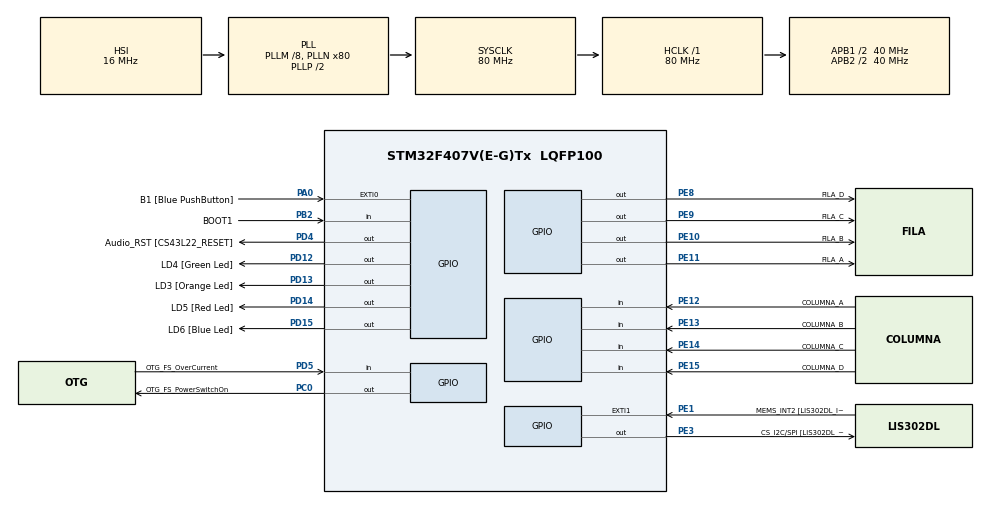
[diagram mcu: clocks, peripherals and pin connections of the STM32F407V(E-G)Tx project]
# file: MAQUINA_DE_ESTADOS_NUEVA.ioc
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<<<<<<< HEAD
Dma.Request0=TIM4_CH1
Dma.TIM4_CH1.0.Direction=DMA_MEMORY_TO_PERIPH
Dma.TIM4_CH1.0.FIFOMode=DMA_FIFOMODE_DISABLE
Dma.TIM4_CH1.0.Instance=DMA1_Stream0
Dma.TIM4_CH1.0.MemDataAlignment=DMA_MDATAALIGN_WORD
Dma.TIM4_CH1.0.MemInc=DMA_MINC_ENABLE
Dma.TIM4_CH1.0.Mode=DMA_NORMAL
Dma.TIM4_CH1.0.PeriphDataAlignment=DMA_PDATAALIGN_WORD
Dma.TIM4_CH1.0.PeriphInc=DMA_PINC_DISABLE
Dma.TIM4_CH1.0.Priority=DMA_PRIORITY_LOW
=======
>>>>>>> origin/main
Mcu.Family=STM32F4
<<<<<<< HEAD
=======
>>>>>>> origin/main
Mcu.Name=STM32F407V(E-G)Tx
Mcu.Package=LQFP100
<<<<<<< HEAD
=======
>>>>>>> origin/main
<<<<<<< HEAD
=======
>>>>>>> origin/main
<<<<<<< HEAD
NVIC.DMA1_Stream0_IRQn=true\:0\:0\:false\:false\:true\:false\:true\:true
=======
>>>>>>> origin/main
NVIC.PriorityGroup=NVIC_PRIORITYGROUP_0
NVIC.TIM8_TRG_COM_TIM14_IRQn=true\:0\:0\:false\:false\:true\:true\:true\:true
PA0-WKUP.GPIO_Label=B1 [Blue PushButton]
PA0-WKUP.Signal=GPXTI0
PA10.GPIO_Label=OTG_FS_ID
PA10.GPIO_Mode=GPIO_MODE_AF_PP
PA10.GPIO_PuPd=GPIO_NOPULL
PA10.GPIO_Speed=GPIO_SPEED_FREQ_LOW
PA10.Signal=USB_OTG_FS_ID
PA11.GPIO_Label=OTG_FS_DM
PA11.GPIO_Mode=GPIO_MODE_AF_PP
PA11.GPIO_PuPd=GPIO_NOPULL
PA11.GPIO_Speed=GPIO_SPEED_FREQ_LOW
PA11.Signal=USB_OTG_FS_DM
PA12.GPIO_Label=OTG_FS_DP
PA12.GPIO_Mode=GPIO_MODE_AF_PP
PA12.GPIO_PuPd=GPIO_NOPULL
PA12.GPIO_Speed=GPIO_SPEED_FREQ_LOW
PA12.Signal=USB_OTG_FS_DP
PA13.GPIO_Label=SWDIO
PA13.Signal=SYS_JTMS-SWDIO
PA14.GPIO_Label=SWCLK
PA14.Signal=SYS_JTCK-SWCLK
PA4.GPIO_Label=I2S3_WS [CS43L22_LRCK]
PA4.GPIO_Mode=GPIO_MODE_AF_PP
PA4.GPIO_PuPd=GPIO_NOPULL
PA4.GPIO_Speed=GPIO_SPEED_FREQ_LOW
PA4.Signal=I2S3_WS
PA5.GPIO_Label=SPI1_SCK [LIS302DL_SCL/SPC]
PA5.GPIO_Mode=GPIO_MODE_AF_PP
PA5.GPIO_PuPd=GPIO_NOPULL
PA5.GPIO_Speed=GPIO_SPEED_FREQ_LOW
PA5.Signal=SPI1_SCK
<<<<<<< HEAD
PA6.Signal=S_TIM3_CH1
=======
PA6.GPIO_Label=SPI1_MISO [LIS302DL_SDO]
PA6.GPIO_Mode=GPIO_MODE_AF_PP
PA6.GPIO_PuPd=GPIO_NOPULL
PA6.GPIO_Speed=GPIO_SPEED_FREQ_LOW
PA6.Signal=SPI1_MISO
>>>>>>> origin/main
PA7.GPIO_Label=SPI1_MOSI [LIS302DL_SDA/SDI/SDO]
PA7.GPIO_Mode=GPIO_MODE_AF_PP
PA7.GPIO_PuPd=GPIO_NOPULL
PA7.GPIO_Speed=GPIO_SPEED_FREQ_LOW
PA7.Signal=SPI1_MOSI
PA9.GPIO_Label=VBUS_FS
PA9.GPIO_Mode=GPIO_MODE_INPUT
PA9.GPIO_PuPd=GPIO_NOPULL
PA9.Signal=USB_OTG_FS_VBUS
PB10.GPIO_Label=CLK_IN [MP45DT02_CLK]
PB10.GPIO_Mode=GPIO_MODE_AF_PP
PB10.GPIO_PuPd=GPIO_NOPULL
PB10.GPIO_Speed=GPIO_SPEED_FREQ_LOW
PB10.Signal=I2S2_CK
PB2.GPIO_Label=BOOT1
PB2.GPIO_Mode=GPIO_MODE_INPUT
PB2.GPIO_PuPd=GPIO_NOPULL
PB2.Signal=GPIO_Input
PB3.GPIO_Label=SWO
PB3.Signal=SYS_JTDO-SWO
PB6.GPIO_Label=Audio_SCL [CS43L22_SCL]
PB6.GPIO_Mode=GPIO_MODE_AF_OD
PB6.GPIO_PuPd=GPIO_NOPULL
PB6.GPIO_Speed=GPIO_SPEED_FREQ_LOW
PB6.Signal=I2C1_SCL
PB9.GPIO_Label=Audio_SDA [CS43L22_SDA]
PB9.GPIO_Mode=GPIO_MODE_AF_OD
PB9.GPIO_PuPd=GPIO_NOPULL
PB9.GPIO_Speed=GPIO_SPEED_FREQ_LOW
PB9.Signal=I2C1_SDA
PC0.GPIO_Label=OTG_FS_PowerSwitchOn
PC0.GPIO_PuPd=GPIO_NOPULL
PC0.GPIO_Speed=GPIO_SPEED_FREQ_LOW
PC0.PinState=GPIO_PIN_SET
PC0.Signal=GPIO_Output
PC10.GPIO_Label=I2S3_SCK [CS43L22_SCLK]
PC10.GPIO_Mode=GPIO_MODE_AF_PP
PC10.GPIO_PuPd=GPIO_NOPULL
PC10.GPIO_Speed=GPIO_SPEED_FREQ_LOW
PC10.Signal=I2S3_CK
PC12.GPIO_Label=I2S3_SD [CS43L22_SDIN]
PC12.GPIO_Mode=GPIO_MODE_AF_PP
PC12.GPIO_PuPd=GPIO_NOPULL
PC12.GPIO_Speed=GPIO_SPEED_FREQ_LOW
PC12.Signal=I2S3_SD
PC14-OSC32_IN.GPIO_Label=PC14-OSC32_IN
PC14-OSC32_IN.Signal=RCC_OSC32_IN
PC15-OSC32_OUT.GPIO_Label=PC15-OSC32_OUT
PC15-OSC32_OUT.Signal=RCC_OSC32_OUT
PC3.GPIO_Label=PDM_OUT [MP45DT02_DOUT]
PC3.GPIO_Mode=GPIO_MODE_AF_PP
PC3.GPIO_PuPd=GPIO_NOPULL
PC3.GPIO_Speed=GPIO_SPEED_FREQ_LOW
PC3.Signal=I2S2_SD
PC7.GPIO_Label=I2S3_MCK [CS43L22_MCLK]
PC7.GPIO_Mode=GPIO_MODE_AF_PP
PC7.GPIO_PuPd=GPIO_NOPULL
PC7.GPIO_Speed=GPIO_SPEED_FREQ_LOW
PC7.Signal=I2S3_MCK
<<<<<<< HEAD
PD12.Signal=S_TIM4_CH1
=======
PD12.GPIO_Label=LD4 [Green Led]
PD12.GPIO_PuPd=GPIO_NOPULL
PD12.GPIO_Speed=GPIO_SPEED_FREQ_LOW
PD12.Signal=GPIO_Output
>>>>>>> origin/main
PD13.GPIO_Label=LD3 [Orange Led]
PD13.GPIO_PuPd=GPIO_NOPULL
PD13.GPIO_Speed=GPIO_SPEED_FREQ_LOW
PD13.Signal=GPIO_Output
PD14.GPIO_Label=LD5 [Red Led]
PD14.GPIO_PuPd=GPIO_NOPULL
PD14.GPIO_Speed=GPIO_SPEED_FREQ_LOW
PD14.Signal=GPIO_Output
PD15.GPIO_Label=LD6 [Blue Led]
PD15.GPIO_PuPd=GPIO_NOPULL
PD15.GPIO_Speed=GPIO_SPEED_FREQ_LOW
PD15.Signal=GPIO_Output
PD4.GPIO_Label=Audio_RST [CS43L22_RESET]
PD4.GPIO_PuPd=GPIO_NOPULL
PD4.GPIO_Speed=GPIO_SPEED_FREQ_LOW
PD4.Signal=GPIO_Output
PD5.GPIO_Label=OTG_FS_OverCurrent
PD5.GPIO_Mode=GPIO_MODE_INPUT
PD5.GPIO_PuPd=GPIO_NOPULL
PD5.Signal=GPIO_Input
PE1.GPIO_Label=MEMS_INT2 [LIS302DL_INT2]
PE1.GPIO_ModeDefaultEXTI=GPIO_MODE_EVT_RISING
PE1.GPIO_PuPd=GPIO_NOPULL
PE1.Signal=GPXTI1
PE10.GPIO_Label=FILA_B
PE10.Signal=GPIO_Output
PE11.GPIO_Label=FILA_A
PE11.Signal=GPIO_Output
PE12.GPIO_Label=COLUMNA_A
PE12.Signal=GPIO_Input
PE13.GPIO_Label=COLUMNA_B
PE13.Signal=GPIO_Input
PE14.GPIO_Label=COLUMNA_C
PE14.Signal=GPIO_Input
PE15.GPIO_Label=COLUMNA_D
PE15.Signal=GPIO_Input
PE3.GPIO_Label=CS_I2C/SPI [LIS302DL_CS_I2C/SPI]
PE3.GPIO_PuPd=GPIO_NOPULL
PE3.GPIO_Speed=GPIO_SPEED_FREQ_LOW
PE3.Signal=GPIO_Output
PE8.GPIO_Label=FILA_D
PE8.Signal=GPIO_Output
PE9.GPIO_Label=FILA_C
PE9.Signal=GPIO_Output
PH0-OSC_IN.GPIO_Label=PH0-OSC_IN
PH0-OSC_IN.Signal=RCC_OSC_IN
PH1-OSC_OUT.GPIO_Label=PH1-OSC_OUT
PH1-OSC_OUT.Signal=RCC_OSC_OUT
ProjectManager.HeapSize=0x200
ProjectManager.StackSize=0x400
ProjectManager.TargetToolchain=STM32CubeIDE
<<<<<<< HEAD
=======
>>>>>>> origin/main
RCC.48MHZClocksFreq_Value=22857142.85714286
RCC.AHBFreq_Value=80000000
RCC.APB1CLKDivider=RCC_HCLK_DIV2
RCC.APB1Freq_Value=40000000
RCC.APB1TimFreq_Value=80000000
RCC.APB2CLKDivider=RCC_HCLK_DIV2
RCC.APB2Freq_Value=40000000
RCC.APB2TimFreq_Value=80000000
RCC.CortexFreq_Value=80000000
RCC.HCLKFreq_Value=80000000
RCC.HSE_VALUE=8000000
RCC.HSI_VALUE=16000000
RCC.LSE_VALUE=32768
RCC.PLLM=8
RCC.PLLN=80
RCC.PLLQ=7
RCC.SYSCLKFreq_VALUE=80000000
RCC.SYSCLKSource=RCC_SYSCLKSOURCE_PLLCLK
RCC.VCOOutputFreq_Value=160000000
<<<<<<< HEAD
SH.S_TIM3_CH1.0=TIM3_CH1,PWM Generation1 CH1
SH.S_TIM4_CH1.0=TIM4_CH1,PWM Generation1 CH1
TIM14.Period=7
TIM14.Prescaler=9999
TIM3.Channel-PWM\ Generation1\ CH1=TIM_CHANNEL_1
TIM3.Period=3
TIM3.Prescaler=9999
TIM4.AutoReloadPreload=TIM_AUTORELOAD_PRELOAD_ENABLE
TIM4.Channel-PWM\ Generation1\ CH1=TIM_CHANNEL_1
TIM4.Period=49
TIM4.Prescaler=1
=======
TIM14.Period=7
TIM14.Prescaler=9999
>>>>>>> origin/main
VP_TIM14_VS_ClockSourceINT.Mode=Enable_Timer
<<<<<<< HEAD
VP_TIM3_VS_ClockSourceINT.Mode=Internal
VP_TIM4_VS_ClockSourceINT.Mode=Internal
=======
>>>>>>> origin/main
board=STM32F407G-DISC1

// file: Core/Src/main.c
/* USER CODE BEGIN Header */
/**
  ******************************************************************************
  * @file           : main.c
  * @brief          : Main program body
  ******************************************************************************
  * @attention
  *
  * Copyright (c) 2026 STMicroelectronics.
  * All rights reserved.
  *
  * This software is licensed under terms that can be found in the LICENSE file
  * in the root directory of this software component.
  * If no LICENSE file comes with this software, it is provided AS-IS.
  *
  ******************************************************************************
  */
/* USER CODE END Header */
#include "main.h"

/* USER CODE BEGIN Includes */

// INCLUYO libreria para números aleatorios
#include <stdlib.h>
// LIB BOOL
#include <stdbool.h>
// INCLUYE DEL TECLADO.h
#include "TECLADO.h"
<<<<<<< HEAD
#include "LEDS.h"
#include "Buzzer.h"
=======
>>>>>>> origin/main

// LIB MEMORIA
#include <string.h>

/* USER CODE END Includes */

<<<<<<< HEAD
TIM_HandleTypeDef htim3;
TIM_HandleTypeDef htim4;
TIM_HandleTypeDef htim14;
DMA_HandleTypeDef hdma_tim4_ch1;
=======
TIM_HandleTypeDef htim14;
>>>>>>> origin/main

/* USER CODE BEGIN PV */

// MEMORIA debe ser una matriz de 8x4
// donde en los bordes tengo ceros, esto es para simplificar la logica de END_GAME

uint8_t M[8][4] = {0};
//			C1	C2	C3	C4
//		F1	x	x	x	x
//		F2	x	x	x	x
//		F3	x	x	x	x
//		F4	x	x	x	x
//		F5	x	x	x	x
//		F6	x	x	x	x
//		F7	x	x	x	x
//		F8	x	x	x	x

//	ESTADO elije en que estado de la maquina esta
//	0	menu
//	1	P1 y P2
//	2	TRANSICION
//	3	CPU
//	4	END GAME
//	5	TRANSICION_END_GAME
uint8_t ESTADO = 0;

// Si hay ganador
//GANA = 0 NO FIN
//GANA = 1 P1
//GANA = 2 P2 O CPU
//GANA = 3 EMPATE
uint8_t GANA = 0;

// Para MEMORIA y LEDs
uint8_t FILA = 0;
uint8_t COLUMNA;

//	QUIEN JUEGA, solo define el color de la ficha
//	0	P1
//	1	P2
bool TURNO_JUGADOR = 0;
// CPU no tiene un turno, es un cambio a otro estado

// si CPU = 0 juega P2; si CPU = 1, juega CPU
bool CPU = 0;

// CPU_DIFF elijo dificultad de CPU
//	1	random
//	2	facil
<<<<<<< HEAD
//	3	dificil (no se llego a implementar)
=======
//	3	dificil???
>>>>>>> origin/main
uint8_t CPU_DIFF = 1;

// Por ahora color es un integer, luego vemos
uint8_t COLOR_P1 = 1;
uint8_t COLOR_P2 = 2;

uint8_t COLOR = 1;

<<<<<<< HEAD
uint32_t L[32] = {0};															//Vector L de 32 elementos
uint32_t vectorled[818] = {0};													//Vector de 818 elementos
uint8_t actualizarpantalla = 0;													//Flag de control de pantalla
=======

>>>>>>> origin/main
// MEPA Q ESTO ES PARA ASIGNAR COLOR
//uint32_t VECTOR_COLOR_3[8] = {D20,D19,D18,D17,D4,D3,D2,D1}

/* USER CODE END PV */

void SystemClock_Config(void);
static void MX_GPIO_Init(void);
<<<<<<< HEAD
static void MX_DMA_Init(void);
static void MX_TIM14_Init(void);
static void MX_TIM3_Init(void);
static void MX_TIM4_Init(void);
=======
static void MX_TIM14_Init(void);
>>>>>>> origin/main
/* USER CODE BEGIN PFP */
void MENU(void);
void PLAYER(void);
void TRANSICION(void);
void INICIO_JUEGO(void);
void CPU_JUEGA(void);
void END_GAME(void);
void JUGADA_ACEPTADA(void);
void TRANSICION_END_GAME(void);
uint8_t WIN_CONDITION(void);
uint8_t COLOR_PLAYER(bool TURNO_JUGADOR);

/* USER CODE END PFP */

int main(void)
{

  /* MCU Configuration--------------------------------------------------------*/

  /* Reset of all peripherals, Initializes the Flash interface and the Systick. */
  HAL_Init();

  /* Configure the system clock */
  SystemClock_Config();

  /* Initialize all configured peripherals */
  MX_GPIO_Init();
<<<<<<< HEAD
  MX_DMA_Init();
  MX_TIM14_Init();
  MX_TIM3_Init();
  MX_TIM4_Init();
  /* USER CODE BEGIN 2 */
  HAL_TIM_PWM_Start(&htim3, TIM_CHANNEL_1);									//Inicio PWM TIM3
  INICIO_TECLADO();															//
  INICIO_JUEGO();															//
  buzzvictoria();															//Musica de victoria usada de inicio
=======
  MX_TIM14_Init();
  /* USER CODE BEGIN 2 */

  INICIO_TECLADO();
  INICIO_JUEGO();

>>>>>>> origin/main

  /* USER CODE END 2 */

  /* Infinite loop */
  while (1)
  {

    /* USER CODE BEGIN 3 */
<<<<<<< HEAD

	  switch (ESTADO)																						//Switch que cambia de estado
	  {
	      case 0:
	          MENU();																						//Funcion de primer estado MENU
	         if (actualizarpantalla == 0){																	//Flag para no reenviar el vector led
	          armadoled(ESTADO, TURNO_JUGADOR, L, COLOR_P2, COLOR_P1, CPU_DIFF, CPU, COLUMNA, M);			//Envio de leds
	          comunicacionled(L,vectorled);
	          ENVIODMA(vectorled);
	          actualizarpantalla = 1;}
	          break;

	      case 1:
	          PLAYER();																						//Funcion de primer estado PLAYER
	         if (actualizarpantalla == 0){
	          armadoled(ESTADO, TURNO_JUGADOR, L, COLOR_P2, COLOR_P1, CPU_DIFF, CPU, COLUMNA, M);
	          comunicacionled(L,vectorled);
	          ENVIODMA(vectorled);
	          actualizarpantalla = 1;}
	          break;

	      case 2:
	          TRANSICION();																					//Funcion de primer estado TRANSICION
	          break;

	      case 3:
	          CPU_JUEGA();																					//Funcion de primer estado CPU_JUEGA
	          break;

	      case 4:
	          END_GAME();																					//Funcion de primer estado END_GAME
	          break;

	      case 5:
	          TRANSICION_END_GAME();																		////Funcion de primer estado TRANSICION_END_GAME
=======
	  switch (ESTADO)
	  {
	      case 0:
	          MENU();
	          break;

	      case 1:
	          PLAYER();
	          break;

	      case 2:
	          TRANSICION();
	          break;

	      case 3:
	          CPU_JUEGA();
	          break;

	      case 4:
	          END_GAME();
	          break;

	      case 5:
	          TRANSICION_END_GAME();
>>>>>>> origin/main
	          break;
	  }

  }
  /* USER CODE END 3 */
}

void SystemClock_Config(void)
{
  RCC_OscInitTypeDef RCC_OscInitStruct = {0};
  RCC_ClkInitTypeDef RCC_ClkInitStruct = {0};

  /** Configure the main internal regulator output voltage
  */
  __HAL_RCC_PWR_CLK_ENABLE();
  __HAL_PWR_VOLTAGESCALING_CONFIG(PWR_REGULATOR_VOLTAGE_SCALE1);

  /** Initializes the RCC Oscillators according to the specified parameters
  * in the RCC_OscInitTypeDef structure.
  */
  RCC_OscInitStruct.OscillatorType = RCC_OSCILLATORTYPE_HSI;
  RCC_OscInitStruct.HSIState = RCC_HSI_ON;
  RCC_OscInitStruct.HSICalibrationValue = RCC_HSICALIBRATION_DEFAULT;
  RCC_OscInitStruct.PLL.PLLState = RCC_PLL_ON;
  RCC_OscInitStruct.PLL.PLLSource = RCC_PLLSOURCE_HSI;
  RCC_OscInitStruct.PLL.PLLM = 8;
  RCC_OscInitStruct.PLL.PLLN = 80;
  RCC_OscInitStruct.PLL.PLLP = RCC_PLLP_DIV2;
  RCC_OscInitStruct.PLL.PLLQ = 7;
  if (HAL_RCC_OscConfig(&RCC_OscInitStruct) != HAL_OK)
  {
    Error_Handler();
  }

  /** Initializes the CPU, AHB and APB buses clocks
  */
  RCC_ClkInitStruct.ClockType = RCC_CLOCKTYPE_HCLK|RCC_CLOCKTYPE_SYSCLK
                              |RCC_CLOCKTYPE_PCLK1|RCC_CLOCKTYPE_PCLK2;
  RCC_ClkInitStruct.SYSCLKSource = RCC_SYSCLKSOURCE_PLLCLK;
  RCC_ClkInitStruct.AHBCLKDivider = RCC_SYSCLK_DIV1;
  RCC_ClkInitStruct.APB1CLKDivider = RCC_HCLK_DIV2;
  RCC_ClkInitStruct.APB2CLKDivider = RCC_HCLK_DIV2;

  if (HAL_RCC_ClockConfig(&RCC_ClkInitStruct, FLASH_LATENCY_2) != HAL_OK)
  {
    Error_Handler();
  }
}

static void MX_TIM3_Init(void)
{

  TIM_ClockConfigTypeDef sClockSourceConfig = {0};
  TIM_MasterConfigTypeDef sMasterConfig = {0};
  TIM_OC_InitTypeDef sConfigOC = {0};

  htim3.Instance = TIM3;
  htim3.Init.Prescaler = 9999;
  htim3.Init.CounterMode = TIM_COUNTERMODE_UP;
  htim3.Init.Period = 3;
  htim3.Init.ClockDivision = TIM_CLOCKDIVISION_DIV1;
  htim3.Init.AutoReloadPreload = TIM_AUTORELOAD_PRELOAD_DISABLE;
  if (HAL_TIM_Base_Init(&htim3) != HAL_OK)
  {
    Error_Handler();
  }
  sClockSourceConfig.ClockSource = TIM_CLOCKSOURCE_INTERNAL;
  if (HAL_TIM_ConfigClockSource(&htim3, &sClockSourceConfig) != HAL_OK)
  {
    Error_Handler();
  }
  if (HAL_TIM_PWM_Init(&htim3) != HAL_OK)
  {
    Error_Handler();
  }
  sMasterConfig.MasterOutputTrigger = TIM_TRGO_RESET;
  sMasterConfig.MasterSlaveMode = TIM_MASTERSLAVEMODE_DISABLE;
  if (HAL_TIMEx_MasterConfigSynchronization(&htim3, &sMasterConfig) != HAL_OK)
  {
    Error_Handler();
  }
  sConfigOC.OCMode = TIM_OCMODE_PWM1;
  sConfigOC.Pulse = 0;
  sConfigOC.OCPolarity = TIM_OCPOLARITY_HIGH;
  sConfigOC.OCFastMode = TIM_OCFAST_DISABLE;
  if (HAL_TIM_PWM_ConfigChannel(&htim3, &sConfigOC, TIM_CHANNEL_1) != HAL_OK)
  {
    Error_Handler();
  }
  HAL_TIM_MspPostInit(&htim3);

}

static void MX_TIM4_Init(void)
{

  TIM_ClockConfigTypeDef sClockSourceConfig = {0};
  TIM_MasterConfigTypeDef sMasterConfig = {0};
  TIM_OC_InitTypeDef sConfigOC = {0};

  htim4.Instance = TIM4;
  htim4.Init.Prescaler = 1;
  htim4.Init.CounterMode = TIM_COUNTERMODE_UP;
  htim4.Init.Period = 49;
  htim4.Init.ClockDivision = TIM_CLOCKDIVISION_DIV1;
  htim4.Init.AutoReloadPreload = TIM_AUTORELOAD_PRELOAD_ENABLE;
  if (HAL_TIM_Base_Init(&htim4) != HAL_OK)
  {
    Error_Handler();
  }
  sClockSourceConfig.ClockSource = TIM_CLOCKSOURCE_INTERNAL;
  if (HAL_TIM_ConfigClockSource(&htim4, &sClockSourceConfig) != HAL_OK)
  {
    Error_Handler();
  }
  if (HAL_TIM_PWM_Init(&htim4) != HAL_OK)
  {
    Error_Handler();
  }
  sMasterConfig.MasterOutputTrigger = TIM_TRGO_RESET;
  sMasterConfig.MasterSlaveMode = TIM_MASTERSLAVEMODE_DISABLE;
  if (HAL_TIMEx_MasterConfigSynchronization(&htim4, &sMasterConfig) != HAL_OK)
  {
    Error_Handler();
  }
  sConfigOC.OCMode = TIM_OCMODE_PWM1;
  sConfigOC.Pulse = 0;
  sConfigOC.OCPolarity = TIM_OCPOLARITY_HIGH;
  sConfigOC.OCFastMode = TIM_OCFAST_DISABLE;
  if (HAL_TIM_PWM_ConfigChannel(&htim4, &sConfigOC, TIM_CHANNEL_1) != HAL_OK)
  {
    Error_Handler();
  }
  HAL_TIM_MspPostInit(&htim4);

}

static void MX_TIM14_Init(void)
{

  htim14.Instance = TIM14;
  htim14.Init.Prescaler = 9999;
  htim14.Init.CounterMode = TIM_COUNTERMODE_UP;
  htim14.Init.Period = 7;
  htim14.Init.ClockDivision = TIM_CLOCKDIVISION_DIV1;
  htim14.Init.AutoReloadPreload = TIM_AUTORELOAD_PRELOAD_DISABLE;
  if (HAL_TIM_Base_Init(&htim14) != HAL_OK)
  {
    Error_Handler();
  }

}

static void MX_DMA_Init(void)
{

  /* DMA controller clock enable */
  __HAL_RCC_DMA1_CLK_ENABLE();

  /* DMA interrupt init */
  /* DMA1_Stream0_IRQn interrupt configuration */
  HAL_NVIC_SetPriority(DMA1_Stream0_IRQn, 0, 0);
  HAL_NVIC_EnableIRQ(DMA1_Stream0_IRQn);

}

static void MX_GPIO_Init(void)
{
  GPIO_InitTypeDef GPIO_InitStruct = {0};

  /* GPIO Ports Clock Enable */
  __HAL_RCC_GPIOE_CLK_ENABLE();
  __HAL_RCC_GPIOC_CLK_ENABLE();
  __HAL_RCC_GPIOH_CLK_ENABLE();
  __HAL_RCC_GPIOA_CLK_ENABLE();
  __HAL_RCC_GPIOB_CLK_ENABLE();
  __HAL_RCC_GPIOD_CLK_ENABLE();

  /*Configure GPIO pin Output Level */
  HAL_GPIO_WritePin(GPIOE, CS_I2C_SPI_Pin|FILA_D_Pin|FILA_C_Pin|FILA_B_Pin
                          |FILA_A_Pin, GPIO_PIN_RESET);

  /*Configure GPIO pin Output Level */
  HAL_GPIO_WritePin(OTG_FS_PowerSwitchOn_GPIO_Port, OTG_FS_PowerSwitchOn_Pin, GPIO_PIN_SET);

  /*Configure GPIO pin Output Level */
<<<<<<< HEAD
  HAL_GPIO_WritePin(GPIOD, LD3_Pin|LD5_Pin|LD6_Pin|Audio_RST_Pin, GPIO_PIN_RESET);
=======
  HAL_GPIO_WritePin(GPIOD, LD4_Pin|LD3_Pin|LD5_Pin|LD6_Pin
                          |Audio_RST_Pin, GPIO_PIN_RESET);
>>>>>>> origin/main

  /*Configure GPIO pins : CS_I2C_SPI_Pin FILA_D_Pin FILA_C_Pin FILA_B_Pin
                           FILA_A_Pin */
  GPIO_InitStruct.Pin = CS_I2C_SPI_Pin|FILA_D_Pin|FILA_C_Pin|FILA_B_Pin
                          |FILA_A_Pin;
  GPIO_InitStruct.Mode = GPIO_MODE_OUTPUT_PP;
  GPIO_InitStruct.Pull = GPIO_NOPULL;
  GPIO_InitStruct.Speed = GPIO_SPEED_FREQ_LOW;
  HAL_GPIO_Init(GPIOE, &GPIO_InitStruct);

  /*Configure GPIO pin : OTG_FS_PowerSwitchOn_Pin */
  GPIO_InitStruct.Pin = OTG_FS_PowerSwitchOn_Pin;
  GPIO_InitStruct.Mode = GPIO_MODE_OUTPUT_PP;
  GPIO_InitStruct.Pull = GPIO_NOPULL;
  GPIO_InitStruct.Speed = GPIO_SPEED_FREQ_LOW;
  HAL_GPIO_Init(OTG_FS_PowerSwitchOn_GPIO_Port, &GPIO_InitStruct);

  /*Configure GPIO pin : PDM_OUT_Pin */
  GPIO_InitStruct.Pin = PDM_OUT_Pin;
  GPIO_InitStruct.Mode = GPIO_MODE_AF_PP;
  GPIO_InitStruct.Pull = GPIO_NOPULL;
  GPIO_InitStruct.Speed = GPIO_SPEED_FREQ_LOW;
  GPIO_InitStruct.Alternate = GPIO_AF5_SPI2;
  HAL_GPIO_Init(PDM_OUT_GPIO_Port, &GPIO_InitStruct);

  /*Configure GPIO pin : B1_Pin */
  GPIO_InitStruct.Pin = B1_Pin;
  GPIO_InitStruct.Mode = GPIO_MODE_IT_RISING;
  GPIO_InitStruct.Pull = GPIO_NOPULL;
  HAL_GPIO_Init(B1_GPIO_Port, &GPIO_InitStruct);

  /*Configure GPIO pin : I2S3_WS_Pin */
  GPIO_InitStruct.Pin = I2S3_WS_Pin;
  GPIO_InitStruct.Mode = GPIO_MODE_AF_PP;
  GPIO_InitStruct.Pull = GPIO_NOPULL;
  GPIO_InitStruct.Speed = GPIO_SPEED_FREQ_LOW;
  GPIO_InitStruct.Alternate = GPIO_AF6_SPI3;
  HAL_GPIO_Init(I2S3_WS_GPIO_Port, &GPIO_InitStruct);

<<<<<<< HEAD
  /*Configure GPIO pins : SPI1_SCK_Pin SPI1_MOSI_Pin */
  GPIO_InitStruct.Pin = SPI1_SCK_Pin|SPI1_MOSI_Pin;
=======
  /*Configure GPIO pins : SPI1_SCK_Pin SPI1_MISO_Pin SPI1_MOSI_Pin */
  GPIO_InitStruct.Pin = SPI1_SCK_Pin|SPI1_MISO_Pin|SPI1_MOSI_Pin;
>>>>>>> origin/main
  GPIO_InitStruct.Mode = GPIO_MODE_AF_PP;
  GPIO_InitStruct.Pull = GPIO_NOPULL;
  GPIO_InitStruct.Speed = GPIO_SPEED_FREQ_LOW;
  GPIO_InitStruct.Alternate = GPIO_AF5_SPI1;
  HAL_GPIO_Init(GPIOA, &GPIO_InitStruct);

  /*Configure GPIO pin : BOOT1_Pin */
  GPIO_InitStruct.Pin = BOOT1_Pin;
  GPIO_InitStruct.Mode = GPIO_MODE_INPUT;
  GPIO_InitStruct.Pull = GPIO_NOPULL;
  HAL_GPIO_Init(BOOT1_GPIO_Port, &GPIO_InitStruct);

  /*Configure GPIO pins : COLUMNA_A_Pin COLUMNA_B_Pin COLUMNA_C_Pin COLUMNA_D_Pin */
  GPIO_InitStruct.Pin = COLUMNA_A_Pin|COLUMNA_B_Pin|COLUMNA_C_Pin|COLUMNA_D_Pin;
  GPIO_InitStruct.Mode = GPIO_MODE_INPUT;
  GPIO_InitStruct.Pull = GPIO_NOPULL;
  HAL_GPIO_Init(GPIOE, &GPIO_InitStruct);

  /*Configure GPIO pin : CLK_IN_Pin */
  GPIO_InitStruct.Pin = CLK_IN_Pin;
  GPIO_InitStruct.Mode = GPIO_MODE_AF_PP;
  GPIO_InitStruct.Pull = GPIO_NOPULL;
  GPIO_InitStruct.Speed = GPIO_SPEED_FREQ_LOW;
  GPIO_InitStruct.Alternate = GPIO_AF5_SPI2;
  HAL_GPIO_Init(CLK_IN_GPIO_Port, &GPIO_InitStruct);

<<<<<<< HEAD
  /*Configure GPIO pins : LD3_Pin LD5_Pin LD6_Pin Audio_RST_Pin */
  GPIO_InitStruct.Pin = LD3_Pin|LD5_Pin|LD6_Pin|Audio_RST_Pin;
=======
  /*Configure GPIO pins : LD4_Pin LD3_Pin LD5_Pin LD6_Pin
                           Audio_RST_Pin */
  GPIO_InitStruct.Pin = LD4_Pin|LD3_Pin|LD5_Pin|LD6_Pin
                          |Audio_RST_Pin;
>>>>>>> origin/main
  GPIO_InitStruct.Mode = GPIO_MODE_OUTPUT_PP;
  GPIO_InitStruct.Pull = GPIO_NOPULL;
  GPIO_InitStruct.Speed = GPIO_SPEED_FREQ_LOW;
  HAL_GPIO_Init(GPIOD, &GPIO_InitStruct);

  /*Configure GPIO pins : I2S3_MCK_Pin I2S3_SCK_Pin I2S3_SD_Pin */
  GPIO_InitStruct.Pin = I2S3_MCK_Pin|I2S3_SCK_Pin|I2S3_SD_Pin;
  GPIO_InitStruct.Mode = GPIO_MODE_AF_PP;
  GPIO_InitStruct.Pull = GPIO_NOPULL;
  GPIO_InitStruct.Speed = GPIO_SPEED_FREQ_LOW;
  GPIO_InitStruct.Alternate = GPIO_AF6_SPI3;
  HAL_GPIO_Init(GPIOC, &GPIO_InitStruct);

  /*Configure GPIO pin : VBUS_FS_Pin */
  GPIO_InitStruct.Pin = VBUS_FS_Pin;
  GPIO_InitStruct.Mode = GPIO_MODE_INPUT;
  GPIO_InitStruct.Pull = GPIO_NOPULL;
  HAL_GPIO_Init(VBUS_FS_GPIO_Port, &GPIO_InitStruct);

  /*Configure GPIO pins : OTG_FS_ID_Pin OTG_FS_DM_Pin OTG_FS_DP_Pin */
  GPIO_InitStruct.Pin = OTG_FS_ID_Pin|OTG_FS_DM_Pin|OTG_FS_DP_Pin;
  GPIO_InitStruct.Mode = GPIO_MODE_AF_PP;
  GPIO_InitStruct.Pull = GPIO_NOPULL;
  GPIO_InitStruct.Speed = GPIO_SPEED_FREQ_LOW;
  GPIO_InitStruct.Alternate = GPIO_AF10_OTG_FS;
  HAL_GPIO_Init(GPIOA, &GPIO_InitStruct);

  /*Configure GPIO pin : OTG_FS_OverCurrent_Pin */
  GPIO_InitStruct.Pin = OTG_FS_OverCurrent_Pin;
  GPIO_InitStruct.Mode = GPIO_MODE_INPUT;
  GPIO_InitStruct.Pull = GPIO_NOPULL;
  HAL_GPIO_Init(OTG_FS_OverCurrent_GPIO_Port, &GPIO_InitStruct);

  /*Configure GPIO pins : Audio_SCL_Pin Audio_SDA_Pin */
  GPIO_InitStruct.Pin = Audio_SCL_Pin|Audio_SDA_Pin;
  GPIO_InitStruct.Mode = GPIO_MODE_AF_OD;
  GPIO_InitStruct.Pull = GPIO_NOPULL;
  GPIO_InitStruct.Speed = GPIO_SPEED_FREQ_LOW;
  GPIO_InitStruct.Alternate = GPIO_AF4_I2C1;
  HAL_GPIO_Init(GPIOB, &GPIO_InitStruct);

  /*Configure GPIO pin : MEMS_INT2_Pin */
  GPIO_InitStruct.Pin = MEMS_INT2_Pin;
  GPIO_InitStruct.Mode = GPIO_MODE_EVT_RISING;
  GPIO_InitStruct.Pull = GPIO_NOPULL;
  HAL_GPIO_Init(MEMS_INT2_GPIO_Port, &GPIO_InitStruct);

}

/* USER CODE BEGIN 4 */

// DEFINO ESTADO MENU Y SU INTERACCION CON TECLADO Y BUZZER
<<<<<<< HEAD
=======
// Ver si agregar INTERFAZ de USUARIO
>>>>>>> origin/main
void MENU(void)
{

	// CUANDO ENTRA EN MENU ACTIVA INTERRUPT
	if (INICIO_ESTADO_TECLADO == 1)
		{
		  HAL_TIM_Base_Start_IT(&htim14);
		  INICIO_ESTADO_TECLADO = 0;
		}

<<<<<<< HEAD
=======

>>>>>>> origin/main
	TecladoPresiona();

	switch (Teclado_Accionado)
	{

		// Elije si CPU activo o no
		case 4:
			{
<<<<<<< HEAD
				CPU = !CPU;
				actualizarpantalla = 0;
=======
				//buzzer
				CPU = !CPU;

>>>>>>> origin/main
			}break;

		// Elije diff de CPU
		case 5:
			{
<<<<<<< HEAD
				CPU_DIFF = 1;
				actualizarpantalla = 0;
			}break;
		case 6:
			{
				CPU_DIFF = 2;
				actualizarpantalla = 0;
			}break;
		case 7:
			{
				CPU_DIFF = 3;
				actualizarpantalla = 0;
			}break;

		// Cambia a Estado PLAYER
		case 8:
			{
				HAL_TIM_Base_Stop_IT(&htim14);
				ESTADO = 1;
				actualizarpantalla = 0;
=======
				//buzzer
				CPU_DIFF = 1;

			}break;
		case 6:
			{
				//buzzer
				CPU_DIFF = 2;

			}break;
		case 7:
			{
				//buzzer
				CPU_DIFF = 3;

			}break;

		// CAMBIA DE ESTADO A P1
		case 8:
			{
				//buzzer
				HAL_TIM_Base_Stop_IT(&htim14);
				ESTADO = 1;
>>>>>>> origin/main
				INICIO_ESTADO_TECLADO = 1;

			}break;

		// Cambia color P1 y P2, ponele q son 3, subida
		case 10:
			{
<<<<<<< HEAD
				actualizarpantalla = 0;
=======
				//buzzer
>>>>>>> origin/main
				if (COLOR_P1 < 3) COLOR_P1++;
				else COLOR_P1 = 1;

			}break;
		case 14:
			{
<<<<<<< HEAD
				actualizarpantalla = 0;
				if (COLOR_P2 < 3) COLOR_P2++;
				else COLOR_P2 = 1;
=======
				//buzzer
				if (COLOR_P2 < 3) COLOR_P2++;
				else COLOR_P2 = 0;
>>>>>>> origin/main

			}break;
		// Cambia color P1 y P2, bajada
		case 9:
			{
<<<<<<< HEAD
				actualizarpantalla = 0;
=======
				//buzzer
>>>>>>> origin/main
				if (COLOR_P1 > 1) COLOR_P1--;
				else COLOR_P1 = 3;

			}break;

		case 13:
			{
<<<<<<< HEAD
				actualizarpantalla = 0;
=======
				//buzzer
>>>>>>> origin/main
				if (COLOR_P2 > 1) COLOR_P2--;
				else COLOR_P2 = 3;

			}break;

		// Si es distinto a alguna accion de teclado valida en MENU entonces teclado = 16
		default:
			{
				//buzzer
				Teclado_Accionado = 16;
			}break;

	}// END SWITCH
<<<<<<< HEAD
=======

>>>>>>> origin/main
	Teclado_Accionado = 16;

}

<<<<<<< HEAD
void PLAYER(void)											//Estado 1, selecciona entre columnas, confirma jugada, o reinicia
=======
void PLAYER(void)
>>>>>>> origin/main
{

	// CUANDO ENTRA EN PLAYER ACTIVA INTERRUPT
	if (INICIO_ESTADO_TECLADO == 1)
		{
		  HAL_TIM_Base_Start_IT(&htim14);
		  INICIO_ESTADO_TECLADO = 0;
		}
<<<<<<< HEAD
	TecladoPresiona();

=======

	TecladoPresiona();
>>>>>>> origin/main

	switch(Teclado_Accionado)
	{
		// Selecciona COLUMNA 1
		case 0:
		{
<<<<<<< HEAD
			COLUMNA = 0;
			actualizarpantalla = 0;
=======
			//buzzer
			COLUMNA = 0;
>>>>>>> origin/main
		}break;

		// Selecciona COLUMNA 2
		case 1:
		{
<<<<<<< HEAD
			COLUMNA = 1;
			actualizarpantalla = 0;
=======
			//buzzer
			COLUMNA = 1;
>>>>>>> origin/main
		}break;

		// Selecciona COLUMNA 3
		case 2:
		{
<<<<<<< HEAD
			COLUMNA = 2;
			actualizarpantalla = 0;
=======
			//buzzer
			COLUMNA = 2;
>>>>>>> origin/main
		}break;

		// Selecciona COLUMNA 4
		case 3:
		{
<<<<<<< HEAD
			COLUMNA = 3;
			actualizarpantalla = 0;
		}break;

		// Confirmar Jugada salta a TRANSICION
		case 8:
		{
			HAL_TIM_Base_Stop_IT(&htim14);
			ESTADO = 2;
			INICIO_ESTADO_TECLADO = 1;
			actualizarpantalla = 0;
		}break;

		// RESET vuelve a MENU
		case 12:
		{
			HAL_TIM_Base_Stop_IT(&htim14);
			INICIO_JUEGO();
			for (int i = 0; i < 32; i++)			//Limpia pantalla
				L[i]=0x000000;
			INICIO_ESTADO_TECLADO = 1;
			actualizarpantalla = 0;
=======
			//buzzer
			COLUMNA = 3;
		}break;

		// Confirmar Jugada
		case 8:
		{
			//buzzer
			HAL_TIM_Base_Stop_IT(&htim14);
			ESTADO = 2;
			INICIO_ESTADO_TECLADO = 1;
		}break;

		// RESET
		case 12:
		{
			//buzzer
			HAL_TIM_Base_Stop_IT(&htim14);
			ESTADO = 5;
			INICIO_ESTADO_TECLADO = 1;
>>>>>>> origin/main
		}break;

		// Si es distinto a alguna accion de teclado valida en PLAYER entonces teclado = 16
		default:
		{
<<<<<<< HEAD
=======
			//buzzer
>>>>>>> origin/main
			Teclado_Accionado = 16;
		}break;

	} // FIN SWITCH

	Teclado_Accionado = 16;
}

<<<<<<< HEAD
uint8_t COLOR_PLAYER(bool TURNO_JUGADOR)							//Asigna color
=======
uint8_t COLOR_PLAYER(bool TURNO_JUGADOR)
>>>>>>> origin/main
{
	if (TURNO_JUGADOR)
	{
	        COLOR = COLOR_P2;
	        return COLOR;
	}

	COLOR = COLOR_P1;
	return COLOR;

}

// ACA VA LA LOGICA DEL JUEGO, DECIDE SI JUGADOR HACE JUGADA VALIDA, SI HACE ANIMACION DE TRANSICION, SI PASA A P2
<<<<<<< HEAD
// SI PASA A CPU O SI VUELVE A P1, O SI FINALIZA EL JUEGo

=======
// SI PASA A CPU O SI VUELVE A P1, O SI FINALIZA EL JUEGO, TODOO JUNTO
// aca por ahi si, se introduce una variable matriz de la posicion de las jugadas
>>>>>>> origin/main
void TRANSICION(void)
{

	COLOR = COLOR_PLAYER(TURNO_JUGADOR);

<<<<<<< HEAD
	if ( M[0][COLUMNA] != 0 )											//Jugada invalida
	{
		buzzinvalida();
		ESTADO = 1;														//Vuelve a Estado PLAYER
		return;
	}
		buzzvalida();													//Jugada valida
=======
	if ( M[0][COLUMNA] != 0 )
	{
		//JUGADA INVALIDA

		//buzzer
		ESTADO = 1;
		return;
	}

		//JUGADA VALIDADA

		//buzzer
>>>>>>> origin/main
		JUGADA_ACEPTADA();

}

<<<<<<< HEAD
void INICIO_JUEGO(void)													//Setea las varialbes en 0 para inicio de juego o reincio
{
=======
void INICIO_JUEGO(void)
{
	// aca hago algo con los LED para que pase un tiempito
	// es inicio de juego
>>>>>>> origin/main
	memset(M, 0, sizeof(M));
    ESTADO=0;
    GANA=0;
    FILA=0;
    COLUMNA=0;
    TURNO_JUGADOR=0;
    CPU=0;
    CPU_DIFF=1;
    COLOR_P1=1;
    COLOR_P2=2;
    COLOR=1;

}

<<<<<<< HEAD
void JUGADA_ACEPTADA(void)												//Como la jugada fue validadada la guarda en matriz
{
    uint8_t c = COLUMNA;			//Columna pulsada

    // Bajar la ficha fila por fila
    for (uint8_t f = 0; f < 8; f++)
    {
        M[f][c] = COLOR;          // colocar en fila actual

        if (f > 0)
            M[f-1][c] = 0;        // borrar fila anterior

        armadoled(ESTADO, TURNO_JUGADOR, L, COLOR_P2, COLOR_P1, CPU_DIFF, CPU, COLUMNA, M);			//Animacion de gravedad
        comunicacionled(L,vectorled);
        ENVIODMA(vectorled);
        HAL_Delay(200);
        // Si es la última fila o la siguiente está ocupada, parar
        if (f == 7 || M[f+1][c] != 0)
            break;
    }

    // La ficha quedó en su posición final, ir a END_GAME
    ESTADO = 4;
}

uint8_t WIN_CONDITION(void)														//Revisa matriz para revisar victoria o empate
{
    GANA = 0;

    // Buscar victoria
    for (int i = 7; i >= 0; i--)
    {
        for (int j = 0; j < 4; j++)
        {
            if (M[i][j] == 0)
                continue;

            if (i >= 2)															//Revisa vertical
            {
                if (M[i-1][j] == M[i][j] &&
                    M[i-2][j] == M[i][j])
                {
                    GANA = M[i][j];
                    return GANA;
                }
            }

            if (j <= 1)															//Revisa horizontal
            {
                if (M[i][j+1] == M[i][j] &&
                    M[i][j+2] == M[i][j])
                {
                    GANA = M[i][j];
                    return GANA;
                }
            }

            // Diagonal ascendente
            if (i >= 2 && j <= 1)												//Revisa diagonal ascendente
            {
                if (M[i-1][j+1] == M[i][j] &&
                    M[i-2][j+2] == M[i][j])
                {
                    GANA = M[i][j];
                    return GANA;
                }
            }

            // Diagonal descendente
            if (i <= 5 && j <= 1)												//Revisa diagonal ascendente
            {
                if (M[i+1][j+1] == M[i][j] &&
                    M[i+2][j+2] == M[i][j])
                {
                    GANA = M[i][j];
                    return GANA;
                }
            }
        }
    }

    for (int j = 0; j < 4; j++)													//Revisa empate viendo si la fila esta vacia
    {
        if (M[0][j] == 0)
            return GANA;
    }

    GANA = 5;
    return GANA;
=======
void JUGADA_ACEPTADA(void)
{
	uint8_t c = COLUMNA;

	M[0][c] = COLOR;
	// ENCIENDO PRIMER LED
	//SI COLUMNA 3 ENTONCES ENCIENDO D20

	for (uint8_t f = 1; f < 8; f++)
	{
		if (M[f][c] != 0)
		{
			ESTADO = 4;
			return;
		}

//	ESTA FUNCION DEBE ENCENDER LA FILA ACTUAL Y APAGAR LA ANTERIOR
//		ASIGNACION_LEDS(c,f,COLOR)

		M[f][c] = COLOR;

		M[f - 1][c] = 0;

	}

//		disp(M);

	ESTADO = 4;
}

uint8_t WIN_CONDITION(void)
{
	// Zona central
	for (uint8_t f = 1; f <= 6; f++)
	{
		for (uint8_t c = 1; c <= 2; c++)
		{
			if (M[f][c] != 0)
			{
				if (
						((M[f-1][c]   == M[f][c]) && (M[f+1][c]   == M[f][c])) ||
						((M[f-1][c-1] == M[f][c]) && (M[f+1][c+1] == M[f][c])) ||
						((M[f][c-1]   == M[f][c]) && (M[f][c+1]   == M[f][c])) ||
						((M[f+1][c-1] == M[f][c]) && (M[f-1][c+1] == M[f][c]))
				)
				{
					return M[f][c];
				}
			}
		}
	}

	// Fila superior
	if (M[0][1] != 0)
	{
		if (
				((M[0][0] == M[0][1]) && (M[0][1] == M[0][2])) ||
				((M[0][1] == M[0][2]) && (M[0][2] == M[0][3]))
		)
		{
			return M[0][1];
		}
	}

	// Fila inferior
	if (M[7][1] != 0)
	{
		if (
				((M[7][0] == M[7][1]) && (M[7][1] == M[7][2])) ||
				((M[7][1] == M[7][2]) && (M[7][2] == M[7][3]))
		)
		{
			return M[7][1];
		}
	}

	// Columna izquierda
	for (uint8_t f = 1; f <= 6; f++)
	{
		if (M[f][0] != 0)
		{
			if ((M[f-1][0] == M[f][0]) &&
					(M[f+1][0] == M[f][0]))
			{
				return M[f][0];
			}
		}
	}

	// Columna derecha
	for (uint8_t f = 1; f <= 6; f++)
	{
		if (M[f][3] != 0)
		{
			if ((M[f-1][3] == M[f][3]) &&
					(M[f+1][3] == M[f][3]))
			{
				return M[f][3];
			}
		}
	}

	// Empate (fila superior llena)
	if ((M[0][0] != 0) &&
			(M[0][1] != 0) &&
			(M[0][2] != 0) &&
			(M[0][3] != 0))
	{
		return 5;
	}

	// No hay ganador
	return 0;
>>>>>>> origin/main
}

void END_GAME(void)
{

<<<<<<< HEAD
	GANA = WIN_CONDITION();													//Si hay victoria o empate campia de estado y se escucha el tono correspondiente
	 if  (GANA ==5){
	    	buzzempate();
	    	ESTADO = 5;
	    	actualizarpantalla = 0;
	 	 	 return;
	 	 	 }
	    else if (GANA == COLOR_P1 || GANA == COLOR_P2){
	    	buzzvictoria();
	    	ESTADO = 5;
	    	actualizarpantalla = 0;
	    	return;}
	//SI NO ES FIN DE JUEGO
	// CAMBIA TURNO ENTRE P1 y (P2 o CPU)
	buzzturno();
	TURNO_JUGADOR = !TURNO_JUGADOR;											//Cambio de turno

=======
	GANA = WIN_CONDITION();

	if (GANA =! 0)
	{
		ESTADO = 5;
		return;
	}

	//SI NO ES FIN DE JUEGO

	// CAMBIA TURNO ENTRE P1 y (P2 o CPU)
	TURNO_JUGADOR = !TURNO_JUGADOR;
>>>>>>> origin/main

	//Si CPU = 0 entonces vuelve a PLAYER siempre
	if (CPU == 0)
	{
		ESTADO = 1;
		return;
	}

	// SI CPU = 1 entonces cambia entre turno CPU y P1
	if (TURNO_JUGADOR)
	{
		ESTADO = 3;
		return;
	}
	ESTADO = 1;

}

<<<<<<< HEAD
void TRANSICION_END_GAME(void)																	//Estado final
{
	bool FINFIN=1;																				//Para que la animacion se ejecute una unica vez
=======
void TRANSICION_END_GAME(void)
{
>>>>>>> origin/main
	Teclado_Accionado = 16;

	if (INICIO_ESTADO_TECLADO == 1)
		{
		  HAL_TIM_Base_Start_IT(&htim14);
		  INICIO_ESTADO_TECLADO = 0;
		}

<<<<<<< HEAD
	while (Teclado_Accionado == 16 && actualizarpantalla == 0)
	{
		TecladoPresiona();
		if (FINFIN)
		{
			for (int f = 7; f >= 0; f--)																			//Llena la matriz segun ganador o empate
			{
				for (uint8_t c = 0; c < 4; c++)
				{
					M[f][c] = GANA;
					armadoled(ESTADO, TURNO_JUGADOR, L, COLOR_P2, COLOR_P1, CPU_DIFF, CPU, COLUMNA, M);		//Animacion ce victoria o empate
					comunicacionled(L,vectorled);
					ENVIODMA(vectorled);
					HAL_Delay(200);
				}
			}
			FINFIN=0;
		}
	}

	HAL_TIM_Base_Stop_IT(&htim14);
	ESTADO = 0;
	INICIO_JUEGO();
	for (int i = 0; i < 32; i++)												//Limpia pantalla cuando hay reinicio
		L[i]=0x000000;
	INICIO_ESTADO_TECLADO = 1;
}

void CPU_JUEGA(void)														 //Funcion de CPU
{
	ESTADO = 2;
	actualizarpantalla = 0;

	if ((CPU_DIFF == 1)|| (CPU_DIFF == 3))									//Si el DIFF_CPU esta en 1 o 3 es nivel de dificultad facil
=======
	while (Teclado_Accionado == 16)
	{
		TecladoPresiona();

		for (uint8_t f = 7; f >= 0; f--)
		        {
		            for (uint8_t c = 0; c < 4; c++)
		            {
		                M[f][c] = GANA;
		            }
		        }

	}
	HAL_TIM_Base_Stop_IT(&htim14);
	ESTADO = 0;
	INICIO_JUEGO();
	INICIO_ESTADO_TECLADO = 1;

}

void CPU_JUEGA(void)
{

	if (CPU_DIFF == 1)
>>>>>>> origin/main
	{
		uint8_t disponibles[4];
		uint8_t n = 0;

<<<<<<< HEAD
		for (uint8_t c = 0; c < 4; c++)									   //Algoritmo para jugada random
		{
			if (M[0][c] == 0)
			{
				disponibles[n++] = c;
			}
		}
		COLUMNA = disponibles[rand() % n];
	}
	else if (CPU_DIFF == 2)													//Nivel de dificultad media
	{
		for (uint8_t f = 0; f <= 7; f++)									//Algoritmo de bloqueo horizontal o vertical
		{
			for (uint8_t c = 1; c <= 2; c++)
			{
				if (M[f][c] == COLOR_P1)
				{
					if ((M[f][c-1] == M[f][c]) && (M[f][c+1] == 0))
					{
						if (f == 7 || M[f+1][c+1] != 0)
						{
							COLUMNA = c+1;
							return;
						}
					}
					if ((M[f][c+1] == M[f][c]) && (M[f][c-1] == 0))
					{
						if (f == 7 || M[f+1][c-1] != 0)
						{
							COLUMNA = c-1;
							return;
						}
					}
				}
				if (
		    (M[f][c-1] == COLOR_P1) &&
		    (M[f][c+1] == COLOR_P1) &&
		    (M[f][c] == 0) &&
		    (f == 7 || M[f+1][c] != 0)
		)
		{
		    COLUMNA = c;
		    return;
		}
			}
		}

		for (uint8_t c = 0; c <= 3; c++)
		{
			for (uint8_t f = 1; f <= 6; f++)
			{
				if (M[f][c] == COLOR_P1)
				{
					if ((M[f+1][c] == M[f][c]) && (M[f-1][c] == 0))
					{
						COLUMNA = c;
						return;
					}
				}
			}
		}

		uint8_t disponibles[4];
		uint8_t n = 0;

=======
>>>>>>> origin/main
		for (uint8_t c = 0; c < 4; c++)
		{
			if (M[0][c] == 0)
			{
				disponibles[n++] = c;
			}
		}
<<<<<<< HEAD

		COLUMNA = disponibles[rand() % n];
	}
}

=======
		COLUMNA = disponibles[rand() % n];
	}
	else if (CPU_DIFF == 2)
	{

	}

	ESTADO = 2;

}

void ASIGNACION_LEDS(uint8_t columna, uint8_t fila, uint8_t COLOR)
{
	uint32_t HEX_COLOR = 0x000000;

	//ROJO
	if (COLOR == 1) HEX_COLOR = 0x1F0000;
	//AZUL
	if (COLOR == 2) HEX_COLOR = 0x00001F;

	if (columna == 0)
	{
//	encender fila actual
//	esto es enciendo D_X del vector asociado a VECTOR COLOR 0

//		VECTOR_COLOR_0[fila] = HEX_COLOR;
//	y apago D_X anterior
//		VECTOR_COLOR_0[fila - 1] = 0x000000;
	}
	else if (columna == 1)
	{
//	encender fila actual
//	esto es enciendo D_X del vector asociado a VECTOR COLOR 1

//		VECTOR_COLOR_1[fila] = HEX_COLOR;
//	y apago D_X anterior
//		VECTOR_COLOR_1[fila - 1] = 0x000000;
	}
	else if (columna == 2)
	{
//	encender fila actual
//	esto es enciendo D_X del vector asociado a VECTOR COLOR 2

//		VECTOR_COLOR_2[fila] = HEX_COLOR;
//	y apago D_X anterior
//		VECTOR_COLOR_2[fila - 1] = 0x000000;
	}
	else if (columna == 3)
	{
//	encender fila actual
//	esto es enciendo D_X del vector asociado a VECTOR COLOR 3

//		VECTOR_COLOR_3[fila] = HEX_COLOR;
//	y apago D_X anterior
//		VECTOR_COLOR_3[fila - 1] = 0x000000;
	}
}
>>>>>>> origin/main

/* USER CODE END 4 */

void Error_Handler(void)
{
  __disable_irq();
  while (1)
  {
  }
}
